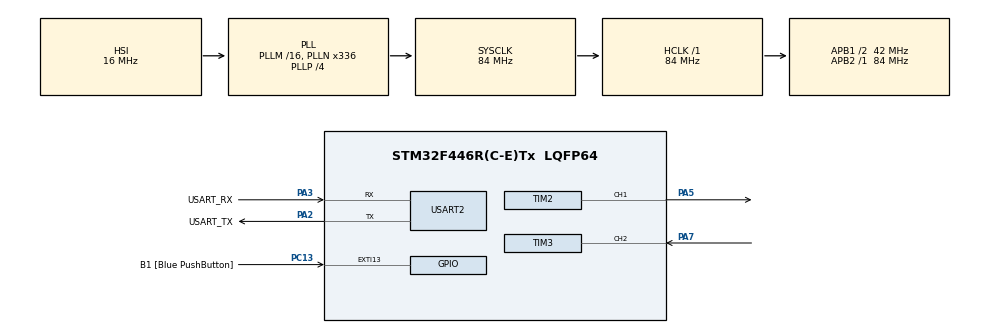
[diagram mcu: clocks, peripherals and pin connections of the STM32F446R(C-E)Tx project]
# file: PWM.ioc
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Mcu.Family=STM32F4
Mcu.Name=STM32F446R(C-E)Tx
Mcu.Package=LQFP64
NVIC.PriorityGroup=NVIC_PRIORITYGROUP_0
NVIC.TIM3_IRQn=true\:0\:0\:false\:false\:true\:true\:true\:true
PA13.GPIO_Label=TMS
PA13.Mode=Serial_Wire
PA13.Signal=SYS_JTMS-SWDIO
PA14.GPIO_Label=TCK
PA14.Mode=Serial_Wire
PA14.Signal=SYS_JTCK-SWCLK
PA2.GPIO_Label=USART_TX
PA2.Mode=Asynchronous
PA2.Signal=USART2_TX
PA3.GPIO_Label=USART_RX
PA3.Mode=Asynchronous
PA3.Signal=USART2_RX
PA5.Signal=S_TIM2_CH1_ETR
PA7.Signal=S_TIM3_CH2
PB3.GPIO_Label=SWO
PB3.Signal=SYS_JTDO-SWO
PC13.GPIO_Label=B1 [Blue PushButton]
PC13.GPIO_ModeDefaultEXTI=GPIO_MODE_IT_FALLING
PC13.Signal=GPXTI13
PC14-OSC32_IN.Mode=LSE-External-Oscillator
PC14-OSC32_IN.Signal=RCC_OSC32_IN
PC15-OSC32_OUT.Mode=LSE-External-Oscillator
PC15-OSC32_OUT.Signal=RCC_OSC32_OUT
PH0-OSC_IN.Mode=HSE-External-Oscillator
PH0-OSC_IN.Signal=RCC_OSC_IN
PH1-OSC_OUT.Mode=HSE-External-Oscillator
PH1-OSC_OUT.Signal=RCC_OSC_OUT
ProjectManager.HeapSize=0x200
ProjectManager.StackSize=0x400
ProjectManager.TargetToolchain=STM32CubeIDE
RCC.48MHZClocksFreq_Value=84000000
RCC.AHBFreq_Value=84000000
RCC.APB1CLKDivider=RCC_HCLK_DIV2
RCC.APB1Freq_Value=42000000
RCC.APB1TimFreq_Value=84000000
RCC.APB2Freq_Value=84000000
RCC.APB2TimFreq_Value=84000000
RCC.CortexFreq_Value=84000000
RCC.FLatency-AdvancedSettings=FLASH_LATENCY_2
RCC.HCLKFreq_Value=84000000
RCC.HSE_VALUE=8000000
RCC.HSI_VALUE=16000000
RCC.PLLN=336
RCC.PLLP=RCC_PLLP_DIV4
RCC.SYSCLKFreq_VALUE=84000000
RCC.SYSCLKSource=RCC_SYSCLKSOURCE_PLLCLK
RCC.USBFreq_Value=168000000
RCC.VCOOutputFreq_Value=336000000
SH.S_TIM2_CH1_ETR.0=TIM2_CH1,PWM Generation1 CH1
SH.S_TIM3_CH2.0=TIM3_CH2,PWM_Input_2
TIM2.AutoReloadPreload=TIM_AUTORELOAD_PRELOAD_ENABLE
TIM2.Channel-PWM\ Generation1\ CH1=TIM_CHANNEL_1
TIM2.Period=99
TIM2.Prescaler=839
USART2.VirtualMode=VM_ASYNC
VP_TIM2_VS_ClockSourceINT.Mode=Internal
VP_TIM3_VS_ClockSourceINT.Mode=Internal
board=NUCLEO-F446RE

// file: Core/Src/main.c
/* USER CODE BEGIN Header */
/**
 ******************************************************************************
 * @file           : main.c
 * @brief          : Main program body
 ******************************************************************************
 * @attention
 *
 * Copyright (c) 2025 STMicroelectronics.
 * All rights reserved.
 *
 * This software is licensed under terms that can be found in the LICENSE file
 * in the root directory of this software component.
 * If no LICENSE file comes with this software, it is provided AS-IS.
 *
 ******************************************************************************
 */
/* USER CODE END Header */
#include "main.h"

/* USER CODE BEGIN Includes */
#include <stdio.h>
#include <string.h>
/* USER CODE END Includes */

/* USER CODE BEGIN PD */
#define F_CLK  84000000UL
/* USER CODE END PD */

TIM_HandleTypeDef htim2;
TIM_HandleTypeDef htim3;

UART_HandleTypeDef huart2;

/* USER CODE BEGIN PV */
volatile uint32_t Frequency = 0;
volatile uint32_t CycleTime = 0;
float Duty = 0.0;
char msg[64];  // Buffer for UART messages
/* USER CODE END PV */

void SystemClock_Config(void);
static void MX_GPIO_Init(void);
static void MX_TIM2_Init(void);
static void MX_USART2_UART_Init(void);
static void MX_TIM3_Init(void);

int main(void)
{

  /* MCU Configuration--------------------------------------------------------*/

  /* Reset of all peripherals, Initializes the Flash interface and the Systick. */
  HAL_Init();

  /* Configure the system clock */
  SystemClock_Config();

  /* Initialize all configured peripherals */
  MX_GPIO_Init();
  MX_TIM2_Init();
  MX_USART2_UART_Init();
  MX_TIM3_Init();

  /* USER CODE BEGIN 2 */
  // Start PWM output on D13 (TIM2 Channel 1)
  HAL_TIM_PWM_Start(&htim2, TIM_CHANNEL_1);

  // Start Input Capture on D11 (TIM3 Channel 2)
  HAL_TIM_IC_Start_IT(&htim3, TIM_CHANNEL_2);
  HAL_TIM_IC_Start(&htim3, TIM_CHANNEL_1);
  /* USER CODE END 2 */

  /* Infinite loop */
  while (1)
  {

    /* USER CODE BEGIN 3 */
    // Generate PWM with alternating duty cycle
    TIM2->CCR1 = 25;
    HAL_Delay(5000);

    // Print measurements
    sprintf(msg, "Freq: %lu Hz, Duty: %.1f%%\r\n", Frequency, Duty);
    HAL_UART_Transmit(&huart2, (uint8_t*)msg, strlen(msg), 100);

    TIM2->CCR1 = 75;
    HAL_Delay(5000);

  }
  /* USER CODE END 3 */
}

void SystemClock_Config(void)
{
  RCC_OscInitTypeDef RCC_OscInitStruct = {0};
  RCC_ClkInitTypeDef RCC_ClkInitStruct = {0};

  /** Configure the main internal regulator output voltage
   */
  __HAL_RCC_PWR_CLK_ENABLE();
  __HAL_PWR_VOLTAGESCALING_CONFIG(PWR_REGULATOR_VOLTAGE_SCALE3);

  /** Initializes the RCC Oscillators according to the specified parameters
   * in the RCC_OscInitTypeDef structure.
   */
  RCC_OscInitStruct.OscillatorType = RCC_OSCILLATORTYPE_HSI;
  RCC_OscInitStruct.HSIState = RCC_HSI_ON;
  RCC_OscInitStruct.HSICalibrationValue = RCC_HSICALIBRATION_DEFAULT;
  RCC_OscInitStruct.PLL.PLLState = RCC_PLL_ON;
  RCC_OscInitStruct.PLL.PLLSource = RCC_PLLSOURCE_HSI;
  RCC_OscInitStruct.PLL.PLLM = 16;
  RCC_OscInitStruct.PLL.PLLN = 336;
  RCC_OscInitStruct.PLL.PLLP = RCC_PLLP_DIV4;
  RCC_OscInitStruct.PLL.PLLQ = 2;
  RCC_OscInitStruct.PLL.PLLR = 2;
  if (HAL_RCC_OscConfig(&RCC_OscInitStruct) != HAL_OK)
  {
    Error_Handler();
  }

  /** Initializes the CPU, AHB and APB buses clocks
   */
  RCC_ClkInitStruct.ClockType = RCC_CLOCKTYPE_HCLK | RCC_CLOCKTYPE_SYSCLK | RCC_CLOCKTYPE_PCLK1 | RCC_CLOCKTYPE_PCLK2;
  RCC_ClkInitStruct.SYSCLKSource = RCC_SYSCLKSOURCE_PLLCLK;
  RCC_ClkInitStruct.AHBCLKDivider = RCC_SYSCLK_DIV1;
  RCC_ClkInitStruct.APB1CLKDivider = RCC_HCLK_DIV2;
  RCC_ClkInitStruct.APB2CLKDivider = RCC_HCLK_DIV1;

  if (HAL_RCC_ClockConfig(&RCC_ClkInitStruct, FLASH_LATENCY_2) != HAL_OK)
  {
    Error_Handler();
  }
}

static void MX_TIM2_Init(void)
{

  TIM_ClockConfigTypeDef sClockSourceConfig = {0};
  TIM_MasterConfigTypeDef sMasterConfig = {0};
  TIM_OC_InitTypeDef sConfigOC = {0};

  htim2.Instance = TIM2;
  htim2.Init.Prescaler = 839;
  htim2.Init.CounterMode = TIM_COUNTERMODE_UP;
  htim2.Init.Period = 99;
  htim2.Init.ClockDivision = TIM_CLOCKDIVISION_DIV1;
  htim2.Init.AutoReloadPreload = TIM_AUTORELOAD_PRELOAD_ENABLE;
  if (HAL_TIM_Base_Init(&htim2) != HAL_OK)
  {
    Error_Handler();
  }
  sClockSourceConfig.ClockSource = TIM_CLOCKSOURCE_INTERNAL;
  if (HAL_TIM_ConfigClockSource(&htim2, &sClockSourceConfig) != HAL_OK)
  {
    Error_Handler();
  }
  if (HAL_TIM_PWM_Init(&htim2) != HAL_OK)
  {
    Error_Handler();
  }
  sMasterConfig.MasterOutputTrigger = TIM_TRGO_RESET;
  sMasterConfig.MasterSlaveMode = TIM_MASTERSLAVEMODE_DISABLE;
  if (HAL_TIMEx_MasterConfigSynchronization(&htim2, &sMasterConfig) != HAL_OK)
  {
    Error_Handler();
  }
  sConfigOC.OCMode = TIM_OCMODE_PWM1;
  sConfigOC.Pulse = 0;
  sConfigOC.OCPolarity = TIM_OCPOLARITY_HIGH;
  sConfigOC.OCFastMode = TIM_OCFAST_DISABLE;
  if (HAL_TIM_PWM_ConfigChannel(&htim2, &sConfigOC, TIM_CHANNEL_1) != HAL_OK)
  {
    Error_Handler();
  }
  HAL_TIM_MspPostInit(&htim2);
}

static void MX_TIM3_Init(void)
{

  TIM_ClockConfigTypeDef sClockSourceConfig = {0};
  TIM_SlaveConfigTypeDef sSlaveConfig = {0};
  TIM_IC_InitTypeDef sConfigIC = {0};
  TIM_MasterConfigTypeDef sMasterConfig = {0};

  htim3.Instance = TIM3;
  htim3.Init.Prescaler = 0;
  htim3.Init.CounterMode = TIM_COUNTERMODE_UP;
  htim3.Init.Period = 65535;
  htim3.Init.ClockDivision = TIM_CLOCKDIVISION_DIV1;
  htim3.Init.AutoReloadPreload = TIM_AUTORELOAD_PRELOAD_DISABLE;
  if (HAL_TIM_Base_Init(&htim3) != HAL_OK)
  {
    Error_Handler();
  }
  sClockSourceConfig.ClockSource = TIM_CLOCKSOURCE_INTERNAL;
  if (HAL_TIM_ConfigClockSource(&htim3, &sClockSourceConfig) != HAL_OK)
  {
    Error_Handler();
  }
  if (HAL_TIM_IC_Init(&htim3) != HAL_OK)
  {
    Error_Handler();
  }
  sSlaveConfig.SlaveMode = TIM_SLAVEMODE_RESET;
  sSlaveConfig.InputTrigger = TIM_TS_TI2FP2;
  sSlaveConfig.TriggerPolarity = TIM_INPUTCHANNELPOLARITY_FALLING;
  sSlaveConfig.TriggerPrescaler = TIM_ICPSC_DIV1;
  sSlaveConfig.TriggerFilter = 0;
  if (HAL_TIM_SlaveConfigSynchro(&htim3, &sSlaveConfig) != HAL_OK)
  {
    Error_Handler();
  }
  sConfigIC.ICPolarity = TIM_INPUTCHANNELPOLARITY_RISING;
  sConfigIC.ICSelection = TIM_ICSELECTION_INDIRECTTI;
  sConfigIC.ICPrescaler = TIM_ICPSC_DIV1;
  sConfigIC.ICFilter = 0;
  if (HAL_TIM_IC_ConfigChannel(&htim3, &sConfigIC, TIM_CHANNEL_1) != HAL_OK)
  {
    Error_Handler();
  }
  sConfigIC.ICPolarity = TIM_INPUTCHANNELPOLARITY_FALLING;
  sConfigIC.ICSelection = TIM_ICSELECTION_DIRECTTI;
  if (HAL_TIM_IC_ConfigChannel(&htim3, &sConfigIC, TIM_CHANNEL_2) != HAL_OK)
  {
    Error_Handler();
  }
  sMasterConfig.MasterOutputTrigger = TIM_TRGO_RESET;
  sMasterConfig.MasterSlaveMode = TIM_MASTERSLAVEMODE_DISABLE;
  if (HAL_TIMEx_MasterConfigSynchronization(&htim3, &sMasterConfig) != HAL_OK)
  {
    Error_Handler();
  }
}

static void MX_USART2_UART_Init(void)
{

  huart2.Instance = USART2;
  huart2.Init.BaudRate = 115200;
  huart2.Init.WordLength = UART_WORDLENGTH_8B;
  huart2.Init.StopBits = UART_STOPBITS_1;
  huart2.Init.Parity = UART_PARITY_NONE;
  huart2.Init.Mode = UART_MODE_TX_RX;
  huart2.Init.HwFlowCtl = UART_HWCONTROL_NONE;
  huart2.Init.OverSampling = UART_OVERSAMPLING_16;
  if (HAL_UART_Init(&huart2) != HAL_OK)
  {
    Error_Handler();
  }
}

static void MX_GPIO_Init(void)
{
  GPIO_InitTypeDef GPIO_InitStruct = {0};

  /* GPIO Ports Clock Enable */
  __HAL_RCC_GPIOC_CLK_ENABLE();
  __HAL_RCC_GPIOH_CLK_ENABLE();
  __HAL_RCC_GPIOA_CLK_ENABLE();
  __HAL_RCC_GPIOB_CLK_ENABLE();

  /*Configure GPIO pin : B1_Pin */
  GPIO_InitStruct.Pin = B1_Pin;
  GPIO_InitStruct.Mode = GPIO_MODE_IT_FALLING;
  GPIO_InitStruct.Pull = GPIO_NOPULL;
  HAL_GPIO_Init(B1_GPIO_Port, &GPIO_InitStruct);

}

/* USER CODE BEGIN 4 */
void HAL_TIM_IC_CaptureCallback(TIM_HandleTypeDef *htim)
{
    if (htim->Instance == TIM3)
    {
        // Read the period value
        CycleTime = HAL_TIM_ReadCapturedValue(htim, TIM_CHANNEL_2);

        if (CycleTime != 0)
        {
            // Calculate duty cycle
            Duty = (HAL_TIM_ReadCapturedValue(htim, TIM_CHANNEL_1) * 100.0f) / CycleTime;

            // Calculate frequency (F_CLK is 84MHz)
            Frequency = (F_CLK / CycleTime);
        }
    }
}
/* USER CODE END 4 */

void Error_Handler(void)
{
  __disable_irq();
  while (1)
  {
  }
}
